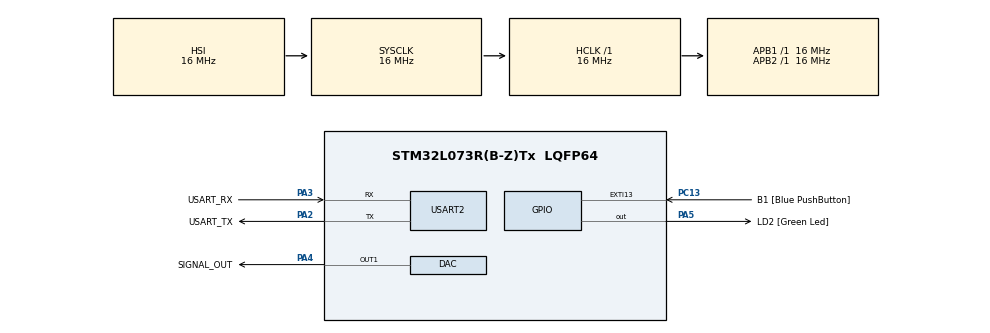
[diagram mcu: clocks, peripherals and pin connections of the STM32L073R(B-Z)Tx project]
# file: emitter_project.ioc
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DAC.DAC_Trigger=DAC_TRIGGER_T2_TRGO
Dma.DAC_CH1.0.Direction=DMA_MEMORY_TO_PERIPH
Dma.DAC_CH1.0.Instance=DMA1_Channel2
Dma.DAC_CH1.0.MemDataAlignment=DMA_MDATAALIGN_HALFWORD
Dma.DAC_CH1.0.MemInc=DMA_MINC_ENABLE
Dma.DAC_CH1.0.Mode=DMA_NORMAL
Dma.DAC_CH1.0.PeriphDataAlignment=DMA_PDATAALIGN_HALFWORD
Dma.DAC_CH1.0.PeriphInc=DMA_PINC_DISABLE
Dma.DAC_CH1.0.Priority=DMA_PRIORITY_HIGH
Dma.Request0=DAC_CH1
Mcu.Family=STM32L0
Mcu.Name=STM32L073R(B-Z)Tx
Mcu.Package=LQFP64
NVIC.DMA1_Channel2_3_IRQn=true\:0\:0\:false\:false\:true\:false\:true\:true
NVIC.TIM2_IRQn=true\:0\:0\:false\:false\:true\:true\:true\:true
NVIC.USART2_IRQn=true\:0\:0\:false\:false\:true\:true\:true\:true
PA13.GPIO_Label=TMS
PA13.Mode=Serial_Wire
PA13.Signal=SYS_SWDIO
PA14.GPIO_Label=TCK
PA14.Mode=Serial_Wire
PA14.Signal=SYS_SWCLK
PA2.GPIO_Label=USART_TX
PA2.Mode=Asynchronous
PA2.Signal=USART2_TX
PA3.GPIO_Label=USART_RX
PA3.Mode=Asynchronous
PA3.Signal=USART2_RX
PA4.GPIO_Label=SIGNAL_OUT
PA4.Signal=COMP_DAC1_group
PA5.GPIO_Label=LD2 [Green Led]
PA5.Signal=GPIO_Output
PC13.GPIO_Label=B1 [Blue PushButton]
PC13.GPIO_ModeDefaultEXTI=GPIO_MODE_IT_FALLING
PC13.Signal=GPXTI13
PC14-OSC32_IN.Mode=LSE-External-Oscillator
PC14-OSC32_IN.Signal=RCC_OSC32_IN
PC15-OSC32_OUT.Mode=LSE-External-Oscillator
PC15-OSC32_OUT.Signal=RCC_OSC32_OUT
PH0-OSC_IN.GPIO_Label=MCO
PH0-OSC_IN.Mode=HSE-External-Clock-Source
PH0-OSC_IN.Signal=RCC_OSC_IN
ProjectManager.HeapSize=0x200
ProjectManager.StackSize=0x400
ProjectManager.TargetToolchain=CMake
RCC.AHBFreq_Value=16000000
RCC.APB1Freq_Value=16000000
RCC.APB1TimFreq_Value=16000000
RCC.APB2Freq_Value=16000000
RCC.APB2TimFreq_Value=16000000
RCC.HCLKFreq_Value=16000000
RCC.HSE_VALUE=8000000
RCC.HSI16_VALUE=16000000
RCC.HSI48_VALUE=48000000
RCC.HSI_VALUE=16000000
RCC.MSI_VALUE=2097000
RCC.SYSCLKFreq_VALUE=16000000
RCC.SYSCLKSource=RCC_SYSCLKSOURCE_HSI
RCC.VCOOutputFreq_Value=48000000
SH.COMP_DAC1_group.0=DAC_OUT1,DAC_OUT1
TIM2.Period=19
TIM2.Prescaler=19
TIM2.TIM_MasterOutputTrigger=TIM_TRGO_UPDATE
USART2.VirtualMode-Asynchronous=VM_ASYNC
VP_TIM2_VS_ClockSourceINT.Mode=Internal
board=NUCLEO-L073RZ

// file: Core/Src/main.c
/* USER CODE BEGIN Header */
/**
  ******************************************************************************
  * @file           : main.c
  * @brief          : Main program body
  ******************************************************************************
  * @attention
  *
  * Copyright (c) 2025 STMicroelectronics.
  * All rights reserved.
  *
  * This software is licensed under terms that can be found in the LICENSE file
  * in the root directory of this software component.
  * If no LICENSE file comes with this software, it is provided AS-IS.
  *
  ******************************************************************************
  */
/* USER CODE END Header */
#include "main.h"
#include "dac.h"
#include "dma.h"
#include "tim.h"
#include "usart.h"
#include "gpio.h"

/* USER CODE BEGIN Includes */
#include "stm32_opal_emitter.h"
#include "stm32_opal_frame.h"
#include "stm32_opal_uart_tx_cmd.h"
#include "stm32_uart_rx.h"
/* USER CODE END Includes */

/* USER CODE BEGIN PD */
#define PUTCHAR_PROTOTYPE int __io_putchar(int ch)
/* USER CODE END PD */

void SystemClock_Config(void);

int main(void)
{

  /* MCU Configuration--------------------------------------------------------*/

  /* Reset of all peripherals, Initializes the Flash interface and the Systick. */
  HAL_Init();

  /* Configure the system clock */
  SystemClock_Config();

  /* Initialize all configured peripherals */
  MX_GPIO_Init();
  MX_DMA_Init();
  MX_USART2_UART_Init();
  MX_TIM2_Init();
  MX_DAC_Init();
  /* USER CODE BEGIN 2 */

  OPAL_Frame bp_frame = {
        .Preamble     = OPAL_FRAME_PREAMBLE,
        .StartFrame   = OPAL_FRAME_START_BYTE,
        .DataType     = TYPE_INT,
        .Data         = {0xAC, 0xF7, 0x89, 0x7B}
  };

  OPAL_Emitter_Init(&hdac, &htim2);
  UART_RX_Init(&huart2);

  bool prev_bp_state = false;
  /* USER CODE END 2 */

  /* Infinite loop */
  /* USER CODE BEGIN WHILE */
  while (1)
  {

    // Listen UART Commands and process them
    if (huart_rx.cmd_ready) {
        UART_Command cmd = UART_RX_ParseCmd(&huart_rx);
        printf(cmd.has_param ? "Received Command: %s, with param: %s\r\n" : "Received Command: %s\r\n", cmd.command, cmd.param);
        OPAL_TX_UART_processCommand(&cmd, &htx);
    }

    // Handle Button Press to Send Frame
    bool bp_state = !HAL_GPIO_ReadPin(GPIOC, GPIO_PIN_13);
    HAL_GPIO_WritePin(GPIOA, GPIO_PIN_5, bp_state ? GPIO_PIN_SET : GPIO_PIN_RESET);

    if (prev_bp_state != bp_state) {
      if (bp_state) {
        printf("BP Pressed! Sending Frame...\r\n");
        OPAL_Emitter_Encode(&htx, &bp_frame);
        OPAL_Emitter_Send_Frame(&htx);
      }
      prev_bp_state = bp_state;
    }

    /* USER CODE END WHILE */

  }
}

void SystemClock_Config(void)
{
  RCC_OscInitTypeDef RCC_OscInitStruct = {0};
  RCC_ClkInitTypeDef RCC_ClkInitStruct = {0};
  RCC_PeriphCLKInitTypeDef PeriphClkInit = {0};

  /** Configure the main internal regulator output voltage
  */
  __HAL_PWR_VOLTAGESCALING_CONFIG(PWR_REGULATOR_VOLTAGE_SCALE1);

  /** Initializes the RCC Oscillators according to the specified parameters
  * in the RCC_OscInitTypeDef structure.
  */
  RCC_OscInitStruct.OscillatorType = RCC_OSCILLATORTYPE_HSI;
  RCC_OscInitStruct.HSIState = RCC_HSI_ON;
  RCC_OscInitStruct.HSICalibrationValue = RCC_HSICALIBRATION_DEFAULT;
  RCC_OscInitStruct.PLL.PLLState = RCC_PLL_NONE;
  if (HAL_RCC_OscConfig(&RCC_OscInitStruct) != HAL_OK)
  {
    Error_Handler();
  }

  /** Initializes the CPU, AHB and APB buses clocks
  */
  RCC_ClkInitStruct.ClockType = RCC_CLOCKTYPE_HCLK|RCC_CLOCKTYPE_SYSCLK
                              |RCC_CLOCKTYPE_PCLK1|RCC_CLOCKTYPE_PCLK2;
  RCC_ClkInitStruct.SYSCLKSource = RCC_SYSCLKSOURCE_HSI;
  RCC_ClkInitStruct.AHBCLKDivider = RCC_SYSCLK_DIV1;
  RCC_ClkInitStruct.APB1CLKDivider = RCC_HCLK_DIV1;
  RCC_ClkInitStruct.APB2CLKDivider = RCC_HCLK_DIV1;

  if (HAL_RCC_ClockConfig(&RCC_ClkInitStruct, FLASH_LATENCY_0) != HAL_OK)
  {
    Error_Handler();
  }
  PeriphClkInit.PeriphClockSelection = RCC_PERIPHCLK_USART2;
  PeriphClkInit.Usart2ClockSelection = RCC_USART2CLKSOURCE_PCLK1;
  if (HAL_RCCEx_PeriphCLKConfig(&PeriphClkInit) != HAL_OK)
  {
    Error_Handler();
  }
}

/* USER CODE BEGIN 4 */
void HAL_DAC_ConvCpltCallbackCh1(DAC_HandleTypeDef* hdac) {
    OPAL_Emitter_Finished_Callback(hdac, &htx);
}

void HAL_UART_RxCpltCallback(UART_HandleTypeDef* huart) {
    UART_RX_Callback(huart);
}

PUTCHAR_PROTOTYPE
{
  // Used for Printf
  HAL_UART_Transmit(&huart2, (uint8_t *)&ch, 1, 0xFFFF);

  return ch;
}
/* USER CODE END 4 */

void Error_Handler(void)
{
  __disable_irq();
  while (1)
  {
  }
}
